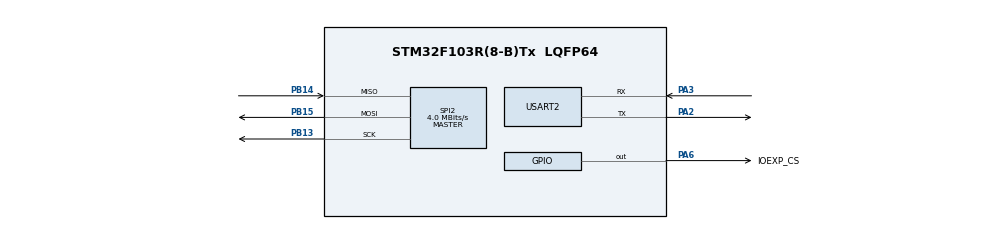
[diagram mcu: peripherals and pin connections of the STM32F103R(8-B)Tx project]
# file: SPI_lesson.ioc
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Mcu.Family=STM32F1
Mcu.Name=STM32F103R(8-B)Tx
Mcu.Package=LQFP64
NVIC.PriorityGroup=NVIC_PRIORITYGROUP_4
PA13.Mode=Serial_Wire
PA13.Signal=SYS_JTMS-SWDIO
PA14.Mode=Serial_Wire
PA14.Signal=SYS_JTCK-SWCLK
PA2.Mode=Asynchronous
PA2.Signal=USART2_TX
PA3.Mode=Asynchronous
PA3.Signal=USART2_RX
PA6.GPIO_Label=IOEXP_CS
PA6.PinState=GPIO_PIN_SET
PA6.Signal=GPIO_Output
PB13.Mode=Full_Duplex_Master
PB13.Signal=SPI2_SCK
PB14.Mode=Full_Duplex_Master
PB14.Signal=SPI2_MISO
PB15.Mode=Full_Duplex_Master
PB15.Signal=SPI2_MOSI
ProjectManager.HeapSize=0x200
ProjectManager.StackSize=0x400
ProjectManager.TargetToolchain=STM32CubeIDE
RCC.APB1Freq_Value=8000000
RCC.APB2Freq_Value=8000000
SPI2.BaudRatePrescaler=SPI_BAUDRATEPRESCALER_2
SPI2.CalculateBaudRate=4.0 MBits/s
SPI2.Direction=SPI_DIRECTION_2LINES
SPI2.Mode=SPI_MODE_MASTER
SPI2.VirtualType=VM_MASTER
USART2.VirtualMode=VM_ASYNC
board=custom

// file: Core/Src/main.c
/* USER CODE BEGIN Header */
/**
  ******************************************************************************
  * @file           : main.c
  * @brief          : Main program body
  ******************************************************************************
  * @attention
  *
  * Copyright (c) 2024 STMicroelectronics.
  * All rights reserved.
  *
  * This software is licensed under terms that can be found in the LICENSE file
  * in the root directory of this software component.
  * If no LICENSE file comes with this software, it is provided AS-IS.
  *
  ******************************************************************************
  */
/* USER CODE END Header */
#include "main.h"
#include "spi.h"
#include "usart.h"
#include "gpio.h"

/* USER CODE BEGIN Includes */
#include "stdio.h"
#include "mcp23s08.h"
/* USER CODE END Includes */

void SystemClock_Config(void);

/* USER CODE BEGIN 0 */
int __io_putchar(int ch)
{
	if (ch == '\n')
	{
		__io_putchar('\r');
	}
	HAL_UART_Transmit(&huart2, (uint8_t*)&ch, 1, HAL_MAX_DELAY);
	return 1;
}
/* USER CODE END 0 */

int main(void)
{

  /* MCU Configuration--------------------------------------------------------*/

  /* Reset of all peripherals, Initializes the Flash interface and the Systick. */
  HAL_Init();

  /* Configure the system clock */
  SystemClock_Config();

  /* Initialize all configured peripherals */
  MX_GPIO_Init();
  MX_SPI2_Init();
  MX_USART2_UART_Init();

  /* Infinite loop */
  /* USER CODE BEGIN WHILE */
  MCP_Register_Write(MCP_IODIR, 0xFA);
  MCP_Register_Write(MCP_GPPU, 0x02);

  while (1)
  {
	  if (MCP_GPIO_ReadPin(GP1) == 0) {
		  MCP_GPIO_WritePin(GP0, 1);
		  MCP_GPIO_WritePin(GP2, 0);
	  }
	  else {
		  MCP_GPIO_WritePin(GP0, 0);
		  MCP_GPIO_WritePin(GP2, 1);
	  }
    /* USER CODE END WHILE */

  }
}

void SystemClock_Config(void)
{
  RCC_OscInitTypeDef RCC_OscInitStruct = {0};
  RCC_ClkInitTypeDef RCC_ClkInitStruct = {0};

  /** Initializes the RCC Oscillators according to the specified parameters
  * in the RCC_OscInitTypeDef structure.
  */
  RCC_OscInitStruct.OscillatorType = RCC_OSCILLATORTYPE_HSI;
  RCC_OscInitStruct.HSIState = RCC_HSI_ON;
  RCC_OscInitStruct.HSICalibrationValue = RCC_HSICALIBRATION_DEFAULT;
  RCC_OscInitStruct.PLL.PLLState = RCC_PLL_NONE;
  if (HAL_RCC_OscConfig(&RCC_OscInitStruct) != HAL_OK)
  {
    Error_Handler();
  }

  /** Initializes the CPU, AHB and APB buses clocks
  */
  RCC_ClkInitStruct.ClockType = RCC_CLOCKTYPE_HCLK|RCC_CLOCKTYPE_SYSCLK
                              |RCC_CLOCKTYPE_PCLK1|RCC_CLOCKTYPE_PCLK2;
  RCC_ClkInitStruct.SYSCLKSource = RCC_SYSCLKSOURCE_HSI;
  RCC_ClkInitStruct.AHBCLKDivider = RCC_SYSCLK_DIV1;
  RCC_ClkInitStruct.APB1CLKDivider = RCC_HCLK_DIV1;
  RCC_ClkInitStruct.APB2CLKDivider = RCC_HCLK_DIV1;

  if (HAL_RCC_ClockConfig(&RCC_ClkInitStruct, FLASH_LATENCY_0) != HAL_OK)
  {
    Error_Handler();
  }
}

void Error_Handler(void)
{
  __disable_irq();
  while (1)
  {
  }
}
